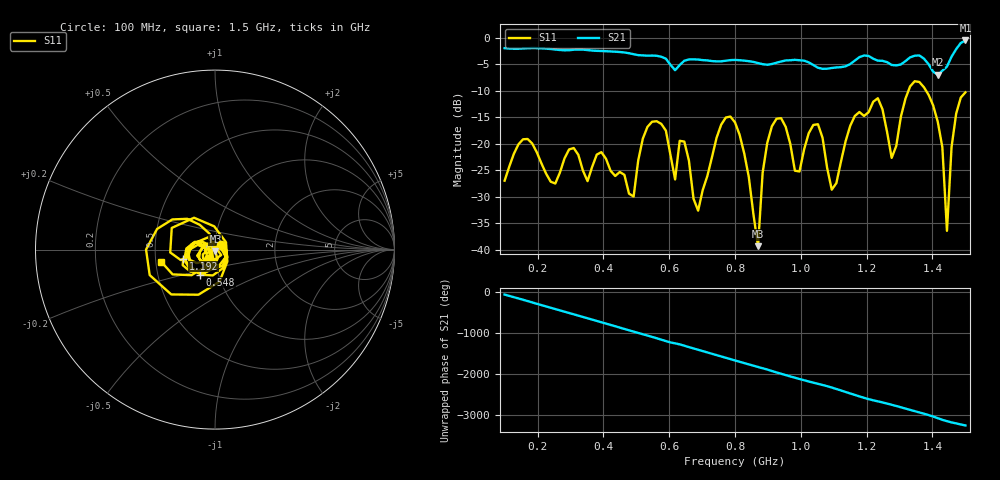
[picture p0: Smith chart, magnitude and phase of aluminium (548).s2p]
! NanoVNA-App
! Date: 2025-09-25 14:59:32
! Start: 100MHz Stop: 1,5GHz Points: 101
! S-Parameter data: F S11 S21 S12 S22
# Hz S RI R 50
!  Frequency  S11_Real  S11_Imag  S21_Real  S21_Imag  S12_Real  S12_Imag  S22_Real  S22_Imag
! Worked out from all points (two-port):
!   101 points, 100 MHz to 1.5 GHz, reference 50 ohm
!   highest |S21| = -0.46 dB at 1.5 GHz (marker M1); lowest = -6.9 dB at 1.416 GHz (marker M2)
!   |S21| within 3 dB of the highest: start of sweep to 570.2 MHz; 1.459 GHz to end of sweep (the widest 2 of 4)
!   lowest |S11| = -39.3 dB at 870 MHz (marker M3), VSWR 1.02, Z = 50.2 - j1.06 ohm
!   |S11| at or under -10 dB: start of sweep to 1.327 GHz; 1.381 GHz to end of sweep
!   S12 and S22 are empty: the file has one direction only
!   S11 on the Smith chart (normalised r, x): 100 MHz: 1.07, +0.06; 548 MHz: 0.82, -0.23; 1.192 GHz: 0.70, -0.07; 1.5 GHz: 0.54, -0.08
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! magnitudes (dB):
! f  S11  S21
! 100 MHz  -27.0  -1.9
! 156 MHz  -19.1  -2.0
! 338 MHz  -25.1  -2.2
! 492 MHz  -29.9  -3.1
! 548 MHz  -15.8  -3.3
! 576 MHz  -16.2  -3.5
! 646 MHz  -19.6  -4.3
! 688 MHz  -32.6  -4.1
! 800 MHz  -15.9  -4.1
! 870 MHz  -39.3  -4.7
! 912 MHz  -16.7  -4.9
! 996 MHz  -25.2  -4.2
! 1.038 GHz  -16.4  -5.1
! 1.094 GHz  -28.7  -5.7
! 1.192 GHz  -14.7  -3.3
! 1.234 GHz  -11.4  -4.3
! 1.276 GHz  -22.7  -5.1
! 1.346 GHz  -8.2  -3.3
! 1.416 GHz  -15.8  -6.9
! 1.444 GHz  -36.4  -5.4
! 1.458 GHz  -20.6  -3.5
! 1.5 GHz  -10.3  -0.5
